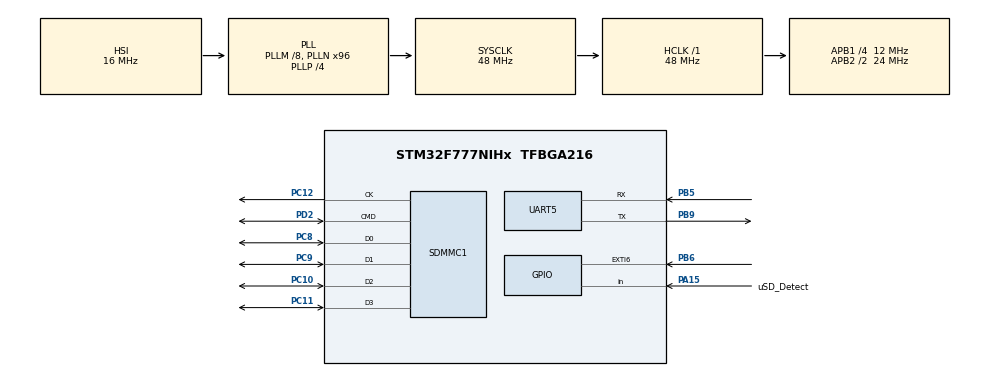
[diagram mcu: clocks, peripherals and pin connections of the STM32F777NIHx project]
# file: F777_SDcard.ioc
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Dma.Request0=SDMMC1_RX
Dma.Request1=SDMMC1_TX
Dma.SDMMC1_RX.0.Direction=DMA_PERIPH_TO_MEMORY
Dma.SDMMC1_RX.0.FIFOMode=DMA_FIFOMODE_ENABLE
Dma.SDMMC1_RX.0.FIFOThreshold=DMA_FIFO_THRESHOLD_FULL
Dma.SDMMC1_RX.0.Instance=DMA2_Stream3
Dma.SDMMC1_RX.0.MemBurst=DMA_MBURST_INC4
Dma.SDMMC1_RX.0.MemDataAlignment=DMA_MDATAALIGN_WORD
Dma.SDMMC1_RX.0.MemInc=DMA_MINC_ENABLE
Dma.SDMMC1_RX.0.Mode=DMA_PFCTRL
Dma.SDMMC1_RX.0.PeriphBurst=DMA_PBURST_INC4
Dma.SDMMC1_RX.0.PeriphDataAlignment=DMA_PDATAALIGN_WORD
Dma.SDMMC1_RX.0.PeriphInc=DMA_PINC_DISABLE
Dma.SDMMC1_RX.0.Priority=DMA_PRIORITY_LOW
Dma.SDMMC1_TX.1.Direction=DMA_MEMORY_TO_PERIPH
Dma.SDMMC1_TX.1.FIFOMode=DMA_FIFOMODE_ENABLE
Dma.SDMMC1_TX.1.FIFOThreshold=DMA_FIFO_THRESHOLD_FULL
Dma.SDMMC1_TX.1.Instance=DMA2_Stream6
Dma.SDMMC1_TX.1.MemBurst=DMA_MBURST_INC4
Dma.SDMMC1_TX.1.MemDataAlignment=DMA_MDATAALIGN_WORD
Dma.SDMMC1_TX.1.MemInc=DMA_MINC_ENABLE
Dma.SDMMC1_TX.1.Mode=DMA_PFCTRL
Dma.SDMMC1_TX.1.PeriphBurst=DMA_PBURST_INC4
Dma.SDMMC1_TX.1.PeriphDataAlignment=DMA_PDATAALIGN_WORD
Dma.SDMMC1_TX.1.PeriphInc=DMA_PINC_DISABLE
Dma.SDMMC1_TX.1.Priority=DMA_PRIORITY_LOW
FATFS.BSP.number=1
FATFS.USE_DMA_CODE_SD=1
FATFS0.BSP.STBoard=false
FATFS0.BSP.api=Unknown
FATFS0.BSP.instance=PA15
FATFS0.BSP.ip=GPIO
FATFS0.BSP.mode=Input
FATFS0.BSP.name=Detect_SDIO
FATFS0.BSP.solution=PA15
Mcu.Family=STM32F7
Mcu.Name=STM32F777NIHx
Mcu.Package=TFBGA216
NVIC.DMA2_Stream3_IRQn=true\:0\:0\:false\:false\:true\:false\:true\:true
NVIC.DMA2_Stream6_IRQn=true\:0\:0\:false\:false\:true\:false\:true\:true
NVIC.PriorityGroup=NVIC_PRIORITYGROUP_4
NVIC.SDMMC1_IRQn=true\:0\:0\:false\:false\:true\:true\:true\:true
PA15.GPIO_Label=uSD_Detect
PA15.GPIO_PuPd=GPIO_PULLUP
PA15.Signal=GPIO_Input
PB5.Mode=Asynchronous
PB5.Signal=UART5_RX
PB6.Signal=GPXTI6
PB9.Mode=Asynchronous
PB9.Signal=UART5_TX
PC10.GPIO_PuPd=GPIO_PULLUP
PC10.Mode=SD_4_bits_Wide_bus
PC10.Signal=SDMMC1_D2
PC11.GPIO_PuPd=GPIO_PULLUP
PC11.Mode=SD_4_bits_Wide_bus
PC11.Signal=SDMMC1_D3
PC12.GPIO_PuPd=GPIO_NOPULL
PC12.Mode=SD_4_bits_Wide_bus
PC12.Signal=SDMMC1_CK
PC8.GPIO_PuPd=GPIO_PULLUP
PC8.Mode=SD_4_bits_Wide_bus
PC8.Signal=SDMMC1_D0
PC9.GPIO_PuPd=GPIO_PULLUP
PC9.Mode=SD_4_bits_Wide_bus
PC9.Signal=SDMMC1_D1
PD2.GPIO_PuPd=GPIO_PULLUP
PD2.Mode=SD_4_bits_Wide_bus
PD2.Signal=SDMMC1_CMD
ProjectManager.HeapSize=0x200
ProjectManager.StackSize=0x400
ProjectManager.TargetToolchain=STM32CubeIDE
RCC.AHBFreq_Value=48000000
RCC.APB1CLKDivider=RCC_HCLK_DIV4
RCC.APB1Freq_Value=12000000
RCC.APB1TimFreq_Value=24000000
RCC.APB2CLKDivider=RCC_HCLK_DIV2
RCC.APB2Freq_Value=24000000
RCC.APB2TimFreq_Value=48000000
RCC.CortexFreq_Value=48000000
RCC.HCLKFreq_Value=48000000
RCC.HSE_VALUE=25000000
RCC.HSI_VALUE=16000000
RCC.LSE_VALUE=32768
RCC.PLLM=8
RCC.PLLN=96
RCC.PLLP=RCC_PLLP_DIV4
RCC.SYSCLKFreq_VALUE=48000000
RCC.SYSCLKSource=RCC_SYSCLKSOURCE_PLLCLK
RCC.USBFreq_Value=96000000
RCC.VCOOutputFreq_Value=192000000
SDMMC1.ClockDiv=8
VP_FATFS_VS_SDIO.Mode=SDIO
board=custom

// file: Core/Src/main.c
/* USER CODE BEGIN Header */
/**
  ******************************************************************************
  * @file           : main.c
  * @brief          : Main program body
  ******************************************************************************
  * @attention
  *
  * Copyright (c) 2023 STMicroelectronics.
  * All rights reserved.
  *
  * This software is licensed under terms that can be found in the LICENSE file
  * in the root directory of this software component.
  * If no LICENSE file comes with this software, it is provided AS-IS.
  *
  ******************************************************************************
  */
/* USER CODE END Header */
#include "main.h"
#include "fatfs.h"

SD_HandleTypeDef hsd1;
DMA_HandleTypeDef hdma_sdmmc1_rx;
DMA_HandleTypeDef hdma_sdmmc1_tx;

void SystemClock_Config(void);
static void MX_GPIO_Init(void);
static void MX_SDMMC1_SD_Init(void);
static void MX_UART5_Init(void);
static void MX_DMA_Init(void);

/* USER CODE BEGIN 0 */
FIL myFile;

int _write(int file, char *ptr, int len)
{
	  for (int i = 0; i <len ; i++)
	  {
			LL_USART_TransmitData8(UART5, (uint16_t)ptr[i]);
			while (!LL_USART_IsActiveFlag_TXE(UART5))
			{
				;
			}
	  }
}
/* USER CODE END 0 */

int main(void)
{
  /* USER CODE BEGIN 1 */
	FRESULT res;
	uint32_t byte_write, byte_read;
	uint8_t wtext[] = "Yes, FatFs is working!!!";
	uint8_t rtext[_MAX_SS];
  /* USER CODE END 1 */

  /* MCU Configuration--------------------------------------------------------*/

  /* Reset of all peripherals, Initializes the Flash interface and the Systick. */
  HAL_Init();

  /* Configure the system clock */
  SystemClock_Config();

  /* Initialize all configured peripherals */
  MX_GPIO_Init();
  MX_SDMMC1_SD_Init();
  MX_UART5_Init();
  MX_DMA_Init();
  MX_FATFS_Init();
  /* USER CODE BEGIN 2 */
    printf("sd-card start\r\n");

    /* Mount device*/
    if(f_mount(&SDFatFS, "0:/", 0) != FR_OK)
    {
  	  printf("mount error\r\n");
  	  goto relax_here;
    }
    else
    {
  	  printf("mount successfull\r\n");
    }

    /* Open file */
    if(f_open(&SDFile, "FILE.TXT", FA_CREATE_ALWAYS | FA_WRITE) != FR_OK)
    {
  	  printf("fopen error\r\n");
  	  goto relax_here;
    }
    else
    {
  	  printf("fopen success\r\n");
    }

    /* Write file */
    res = f_write(&SDFile, wtext, sizeof(wtext), (void *)&byte_write);
    if((byte_write == 0) || (res != FR_OK))
    {
  	  printf("fwrite error\r\n");
  	  goto relax_here;
    }
    else
    {
  	  printf("fwrite success\r\n");
  	  if (f_close(&SDFile) != FR_OK)
  	  {
  		  printf("close file failure\r\n");
  	  }
    }

    printf("All done write\r\n");

    /* Open file */
    if(f_open(&SDFile, "FILE.TXT", FA_READ) != FR_OK)
    {
  	  printf("fopen failure\r\n");
  	  goto relax_here;
    }
    else
    {
  	  printf("fopen success\r\n");
    }

    /* Read file */
    res = f_read(&SDFile, rtext, sizeof(rtext), (UINT*)&byte_read);

    if((byte_read == 0) || (res != FR_OK))
    {
  	  printf("fread error\r\n");
  	  goto relax_here;
    }
    else
    {
  	  printf("fread success\r\n");
  	  f_close(&SDFile);
  	  printf("On file: %s\r\n", rtext);
    }

    printf("SD-Card read success\r\n");

//    const char *fname = "h.srec";
//    FILINFO fno;
//    FRESULT fr;
//    fr = f_stat(fname, &fno);
//    if (fr != FR_OK)
//   	  {
//   		  printf("doesn't exist directory\r\n");
//   	  }
//
//    else
//  	  printf("File ready!\r\n");
   relax_here:
  /* USER CODE END 2 */

  /* Infinite loop */
  while (1)
  {

  }
}

void SystemClock_Config(void)
{
  RCC_OscInitTypeDef RCC_OscInitStruct = {0};
  RCC_ClkInitTypeDef RCC_ClkInitStruct = {0};

  /** Configure the main internal regulator output voltage
  */
  __HAL_RCC_PWR_CLK_ENABLE();
  __HAL_PWR_VOLTAGESCALING_CONFIG(PWR_REGULATOR_VOLTAGE_SCALE3);

  /** Initializes the RCC Oscillators according to the specified parameters
  * in the RCC_OscInitTypeDef structure.
  */
  RCC_OscInitStruct.OscillatorType = RCC_OSCILLATORTYPE_HSI;
  RCC_OscInitStruct.HSIState = RCC_HSI_ON;
  RCC_OscInitStruct.HSICalibrationValue = RCC_HSICALIBRATION_DEFAULT;
  RCC_OscInitStruct.PLL.PLLState = RCC_PLL_ON;
  RCC_OscInitStruct.PLL.PLLSource = RCC_PLLSOURCE_HSI;
  RCC_OscInitStruct.PLL.PLLM = 8;
  RCC_OscInitStruct.PLL.PLLN = 96;
  RCC_OscInitStruct.PLL.PLLP = RCC_PLLP_DIV4;
  RCC_OscInitStruct.PLL.PLLQ = 2;
  RCC_OscInitStruct.PLL.PLLR = 2;
  if (HAL_RCC_OscConfig(&RCC_OscInitStruct) != HAL_OK)
  {
    Error_Handler();
  }

  /** Initializes the CPU, AHB and APB buses clocks
  */
  RCC_ClkInitStruct.ClockType = RCC_CLOCKTYPE_HCLK|RCC_CLOCKTYPE_SYSCLK
                              |RCC_CLOCKTYPE_PCLK1|RCC_CLOCKTYPE_PCLK2;
  RCC_ClkInitStruct.SYSCLKSource = RCC_SYSCLKSOURCE_PLLCLK;
  RCC_ClkInitStruct.AHBCLKDivider = RCC_SYSCLK_DIV1;
  RCC_ClkInitStruct.APB1CLKDivider = RCC_HCLK_DIV4;
  RCC_ClkInitStruct.APB2CLKDivider = RCC_HCLK_DIV2;

  if (HAL_RCC_ClockConfig(&RCC_ClkInitStruct, FLASH_LATENCY_1) != HAL_OK)
  {
    Error_Handler();
  }
}

static void MX_SDMMC1_SD_Init(void)
{

  hsd1.Instance = SDMMC1;
  hsd1.Init.ClockEdge = SDMMC_CLOCK_EDGE_RISING;
  hsd1.Init.ClockBypass = SDMMC_CLOCK_BYPASS_DISABLE;
  hsd1.Init.ClockPowerSave = SDMMC_CLOCK_POWER_SAVE_DISABLE;
  hsd1.Init.BusWide = SDMMC_BUS_WIDE_1B;
  hsd1.Init.HardwareFlowControl = SDMMC_HARDWARE_FLOW_CONTROL_DISABLE;
  hsd1.Init.ClockDiv = 8;

}

static void MX_UART5_Init(void)
{

  LL_USART_InitTypeDef USART_InitStruct = {0};

  LL_GPIO_InitTypeDef GPIO_InitStruct = {0};
  RCC_PeriphCLKInitTypeDef PeriphClkInitStruct = {0};

  /** Initializes the peripherals clock
  */
  PeriphClkInitStruct.PeriphClockSelection = RCC_PERIPHCLK_UART5;
  PeriphClkInitStruct.Uart5ClockSelection = RCC_UART5CLKSOURCE_PCLK1;
  if (HAL_RCCEx_PeriphCLKConfig(&PeriphClkInitStruct) != HAL_OK)
  {
    Error_Handler();
  }

  /* Peripheral clock enable */
  LL_APB1_GRP1_EnableClock(LL_APB1_GRP1_PERIPH_UART5);

  LL_AHB1_GRP1_EnableClock(LL_AHB1_GRP1_PERIPH_GPIOB);
  /**UART5 GPIO Configuration
  PB5   ------> UART5_RX
  PB9   ------> UART5_TX
  */
  GPIO_InitStruct.Pin = LL_GPIO_PIN_5;
  GPIO_InitStruct.Mode = LL_GPIO_MODE_ALTERNATE;
  GPIO_InitStruct.Speed = LL_GPIO_SPEED_FREQ_VERY_HIGH;
  GPIO_InitStruct.OutputType = LL_GPIO_OUTPUT_PUSHPULL;
  GPIO_InitStruct.Pull = LL_GPIO_PULL_NO;
  GPIO_InitStruct.Alternate = LL_GPIO_AF_1;
  LL_GPIO_Init(GPIOB, &GPIO_InitStruct);

  GPIO_InitStruct.Pin = LL_GPIO_PIN_9;
  GPIO_InitStruct.Mode = LL_GPIO_MODE_ALTERNATE;
  GPIO_InitStruct.Speed = LL_GPIO_SPEED_FREQ_VERY_HIGH;
  GPIO_InitStruct.OutputType = LL_GPIO_OUTPUT_PUSHPULL;
  GPIO_InitStruct.Pull = LL_GPIO_PULL_NO;
  GPIO_InitStruct.Alternate = LL_GPIO_AF_7;
  LL_GPIO_Init(GPIOB, &GPIO_InitStruct);

  USART_InitStruct.BaudRate = 115200;
  USART_InitStruct.DataWidth = LL_USART_DATAWIDTH_8B;
  USART_InitStruct.StopBits = LL_USART_STOPBITS_1;
  USART_InitStruct.Parity = LL_USART_PARITY_NONE;
  USART_InitStruct.TransferDirection = LL_USART_DIRECTION_TX_RX;
  USART_InitStruct.HardwareFlowControl = LL_USART_HWCONTROL_NONE;
  USART_InitStruct.OverSampling = LL_USART_OVERSAMPLING_16;
  LL_USART_Init(UART5, &USART_InitStruct);
  LL_USART_ConfigAsyncMode(UART5);
  LL_USART_Enable(UART5);

}

static void MX_DMA_Init(void)
{

  /* DMA controller clock enable */
  __HAL_RCC_DMA2_CLK_ENABLE();

  /* DMA interrupt init */
  /* DMA2_Stream3_IRQn interrupt configuration */
  HAL_NVIC_SetPriority(DMA2_Stream3_IRQn, 0, 0);
  HAL_NVIC_EnableIRQ(DMA2_Stream3_IRQn);
  /* DMA2_Stream6_IRQn interrupt configuration */
  HAL_NVIC_SetPriority(DMA2_Stream6_IRQn, 0, 0);
  HAL_NVIC_EnableIRQ(DMA2_Stream6_IRQn);

}

static void MX_GPIO_Init(void)
{
  GPIO_InitTypeDef GPIO_InitStruct = {0};

  /* GPIO Ports Clock Enable */
  __HAL_RCC_GPIOB_CLK_ENABLE();
  __HAL_RCC_GPIOC_CLK_ENABLE();
  __HAL_RCC_GPIOA_CLK_ENABLE();
  __HAL_RCC_GPIOD_CLK_ENABLE();

  /*Configure GPIO pin : uSD_Detect_Pin */
  GPIO_InitStruct.Pin = uSD_Detect_Pin;
  GPIO_InitStruct.Mode = GPIO_MODE_INPUT;
  GPIO_InitStruct.Pull = GPIO_PULLUP;
  HAL_GPIO_Init(uSD_Detect_GPIO_Port, &GPIO_InitStruct);

  /*Configure GPIO pin : PB6 */
  GPIO_InitStruct.Pin = GPIO_PIN_6;
  GPIO_InitStruct.Mode = GPIO_MODE_IT_RISING;
  GPIO_InitStruct.Pull = GPIO_NOPULL;
  HAL_GPIO_Init(GPIOB, &GPIO_InitStruct);

}

void Error_Handler(void)
{
  __disable_irq();
  while (1)
  {
  }
}
